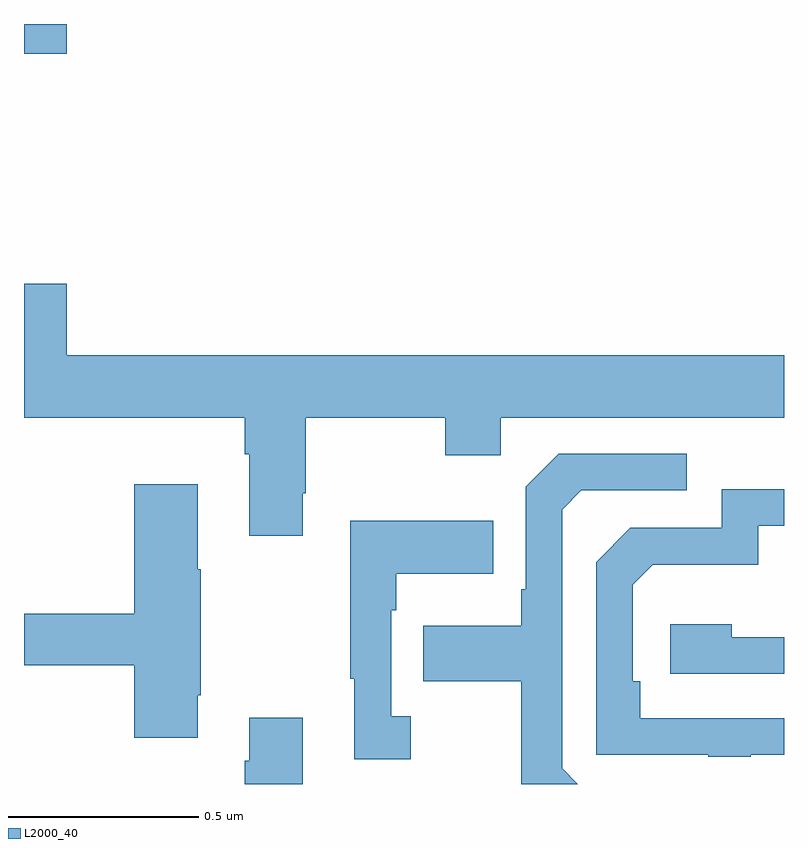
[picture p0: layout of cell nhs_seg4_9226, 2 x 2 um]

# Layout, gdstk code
import gdstk
lib = gdstk.Library(unit=1e-6, precision=1e-09)
def R(c, l, rs):  # rectangles x0, y0, x1, y1
    for r in rs: c.add(gdstk.rectangle(r[:2], r[2:], *l))
def P(c, l, *ps):  # polygons
    for p in ps: c.add(gdstk.Polygon(p, *l))
L2000_40 = (2000, 40)

nhs_seg4_9226 = lib.new_cell('nhs_seg4_9226')
R(nhs_seg4_9226, L2000_40, [(225,753.822,225.112,753.9)])
P(nhs_seg4_9226, L2000_40, [(225.733,752.665),(225.741,752.665),(225.741,752.864),(226.108,752.864),(226.108,752.765),(226.254,752.765),(226.254,752.864),(227,752.864),(227,753.028),(225.112,753.028),(225.112,753.217),(225,753.217),(225,752.864),(225.581,752.864),(225.581,752.768),(225.593,752.768),(225.593,752.553),(225.733,752.553)],
  [(226.416,751.941),(226.416,752.622),(226.467,752.673),(226.744,752.673),(226.744,752.769),(226.407,752.769),(226.32,752.682),(226.32,752.413),(226.308,752.413),(226.308,752.317),(226.051,752.317),(226.051,752.17),(226.308,752.17),(226.308,751.9),(226.457,751.9)],
  [(225.457,752.134),(225.465,752.134),(225.465,752.465),(225.457,752.465),(225.457,752.689),(225.29,752.689),(225.29,752.348),(225,752.348),(225,752.212),(225.29,752.212),(225.29,752.022),(225.457,752.022)],
  [(226.913,751.977),(227,751.977),(227,752.073),(226.622,752.073),(226.622,752.17),(226.602,752.17),(226.602,752.424),(226.655,752.477),(226.932,752.477),(226.932,752.58),(227,752.58),(227,752.676),(226.836,752.676),(226.836,752.574),(226.596,752.574),(226.506,752.484),(226.506,751.977),(226.801,751.977),(226.801,751.972),(226.913,751.972)],
  [(226.018,752.078),(225.966,752.078),(225.966,752.357),(225.979,752.357),(225.979,752.453),(226.235,752.453),(226.235,752.593),(225.858,752.593),(225.858,752.177),(225.869,752.177),(225.869,751.965),(226.018,751.965)],
  [(227,752.286),(226.862,752.286),(226.862,752.32),(226.701,752.32),(226.701,752.19),(227,752.19)],
  [(225.733,752.074),(225.593,752.074),(225.593,751.961),(225.581,751.961),(225.581,751.9),(225.733,751.9)])

lib.write_gds('nhs_seg4_9226.gds')
